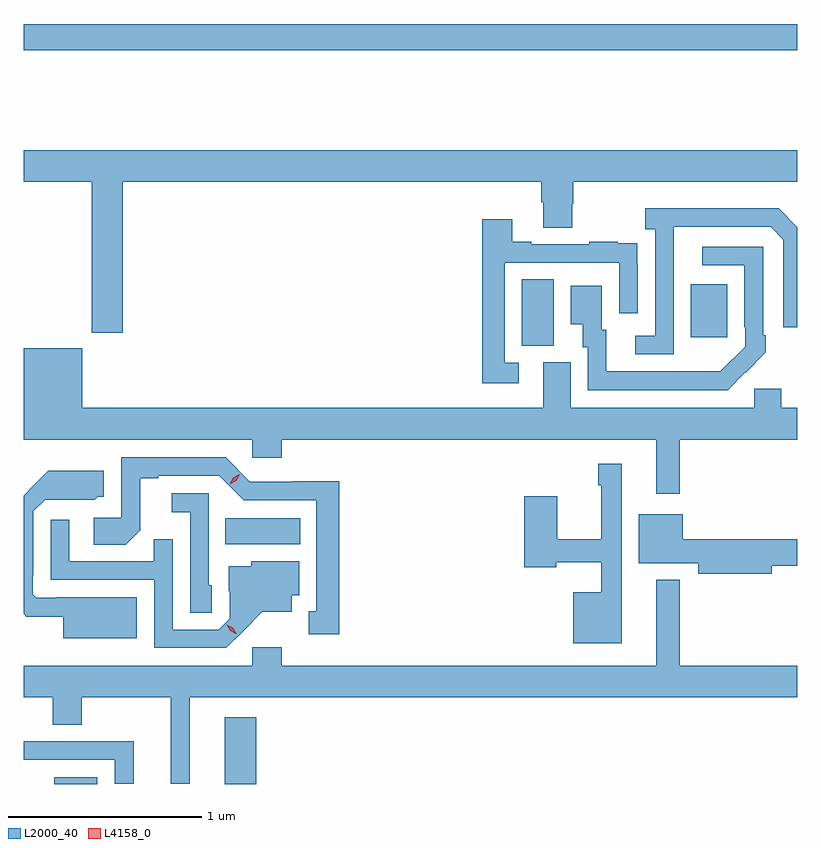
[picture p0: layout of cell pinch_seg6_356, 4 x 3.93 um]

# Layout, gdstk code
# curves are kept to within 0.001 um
import gdstk
lib = gdstk.Library(unit=1e-6, precision=1e-09)
def R(c, l, rs):  # rectangles x0, y0, x1, y1
    for r in rs: c.add(gdstk.rectangle(r[:2], r[2:], *l))
def P(c, l, *ps):  # polygons
    for p in ps: c.add(gdstk.Polygon(p, *l))
L2000_40 = (2000, 40)
L4158_0 = (4158, 0)

pinch_seg6_356 = lib.new_cell('pinch_seg6_356')
R(pinch_seg6_356, L2000_40, [(675.722,950.884,675.946,950.92), (676.604,950.884,676.768,951.229), (676.606,952.124,676.993,952.258), (678.14,953.149,678.304,953.492), (679.013,953.193,679.201,953.467), (675.564,954.676,679.564,954.812)])
P(pinch_seg6_356, L2000_40, [(676.076,953.996),(678.239,953.996),(678.239,953.89),(678.251,953.89),(678.251,953.758),(678.399,953.758),(678.399,953.883),(678.404,953.883),(678.404,953.996),(679.564,953.996),(679.564,954.16),(675.564,954.16),(675.564,953.996),(675.916,953.996),(675.916,953.217),(676.076,953.217)],
  [(678.924,953.563),(678.925,953.763),(679.425,953.763),(679.491,953.697),(679.491,953.244),(679.564,953.244),(679.564,953.762),(679.466,953.86),(678.777,953.86),(678.777,953.75),(678.828,953.75),(678.828,953.202),(678.726,953.202),(678.726,953.106),(678.924,953.106)],
  [(678.124,953.061),(678.051,953.061),(678.051,953.577),(678.642,953.577),(678.642,953.316),(678.738,953.316),(678.738,953.57),(678.737,953.57),(678.737,953.679),(678.635,953.679),(678.635,953.686),(678.487,953.686),(678.487,953.673),(678.187,953.673),(678.187,953.686),(678.091,953.686),(678.091,953.803),(677.935,953.803),(677.935,952.956),(678.124,952.956)],
  [(679.295,953.011),(679.296,953.01),(679.401,953.115),(679.401,953.203),(679.386,953.203),(679.386,953.661),(679.071,953.661),(679.071,953.565),(679.29,953.565),(679.29,953.245),(679.293,953.245),(679.293,953.145),(679.165,953.017),(678.577,953.016),(678.577,953.232),(678.553,953.232),(678.553,953.458),(678.392,953.458),(678.392,953.261),(678.455,953.261),(678.455,953.142),(678.48,953.142),(678.48,952.92),(679.204,952.92)],
  [(678.955,952.664),(679.564,952.664),(679.564,952.828),(679.48,952.828),(679.48,952.926),(679.341,952.926),(679.341,952.828),(678.391,952.828),(678.391,953.064),(678.251,953.064),(678.251,952.828),(675.868,952.828),(675.868,953.137),(675.564,953.137),(675.564,952.664),(676.746,952.664),(676.746,952.571),(676.898,952.571),(676.898,952.664),(678.833,952.664),(678.833,952.383),(678.955,952.383)],
  [(677.197,952.448),(676.956,952.448),(676.956,952.446),(676.734,952.446),(676.608,952.572),(676.068,952.572),(676.068,952.26),(675.927,952.26),(675.927,952.12),(676.091,952.12),(676.167,952.196),(676.167,952.464),(676.261,952.464),(676.261,952.476),(676.575,952.476),(676.701,952.35),(677.078,952.35),(677.078,951.777),(677.039,951.777),(677.039,951.657),(677.197,951.657)],
  [(678.655,952.54),(678.534,952.54),(678.534,952.427),(678.551,952.427),(678.551,952.148),(678.322,952.148),(678.322,952.372),(678.152,952.372),(678.152,952.004),(678.318,952.004),(678.318,952.031),(678.551,952.031),(678.551,951.874),(678.404,951.874),(678.404,951.611),(678.655,951.611)],
  [(676.15,951.85),(675.73,951.85),(675.73,951.846),(675.63,951.846),(675.612,951.864),(675.612,951.964),(675.615,951.964),(675.615,952.293),(675.675,952.353),(675.932,952.352),(675.948,952.368),(675.979,952.368),(675.979,952.504),(675.691,952.504),(675.564,952.375),(675.564,951.763),(675.578,951.749),(675.77,951.749),(675.77,951.638),(676.15,951.638)],
  [(676.536,951.912),(676.521,951.912),(676.521,952.386),(676.329,952.386),(676.329,952.289),(676.425,952.289),(676.425,951.769),(676.536,951.769)],
  [(679.432,952.012),(679.564,952.012),(679.564,952.148),(678.97,952.148),(678.97,952.279),(678.743,952.279),(678.743,952.025),(679.052,952.025),(679.052,951.97),(679.432,951.97)],
  [(676.696,951.671),(676.799,951.773),(676.951,951.773),(676.951,951.86),(676.99,951.86),(676.99,952.036),(676.74,952.036),(676.74,952.009),(676.625,952.009),(676.625,951.88),(676.629,951.88),(676.629,951.738),(676.572,951.681),(676.335,951.681),(676.335,952.148),(676.237,952.148),(676.237,952.035),(675.801,952.035),(675.801,952.249),(675.705,952.249),(675.705,951.939),(676.239,951.939),(676.239,951.588),(676.612,951.588)],
  [(676.424,951.332),(679.564,951.332),(679.564,951.496),(678.955,951.496),(678.955,951.94),(678.833,951.94),(678.833,951.496),(676.898,951.496),(676.898,951.592),(676.746,951.592),(676.746,951.496),(675.564,951.496),(675.564,951.332),(675.716,951.332),(675.716,951.19),(675.864,951.19),(675.864,951.332),(676.325,951.332),(676.325,950.886),(676.424,950.886)],
  [(676.133,951.105),(675.564,951.105),(675.564,951.009),(676.035,951.009),(676.035,950.886),(676.133,950.886)])
P(pinch_seg6_356, L4158_0, [(676.63,952.434),(676.63,952.434),(676.648,952.466),(676.68,952.485),(676.681,952.485),(676.681,952.485),(676.663,952.452),(676.631,952.434)],
  [(676.662,951.661),(676.632,951.677),(676.614,951.707),(676.614,951.707),(676.614,951.707),(676.645,951.692),(676.663,951.662),(676.663,951.661)])

lib.write_gds('pinch_seg6_356.gds')
